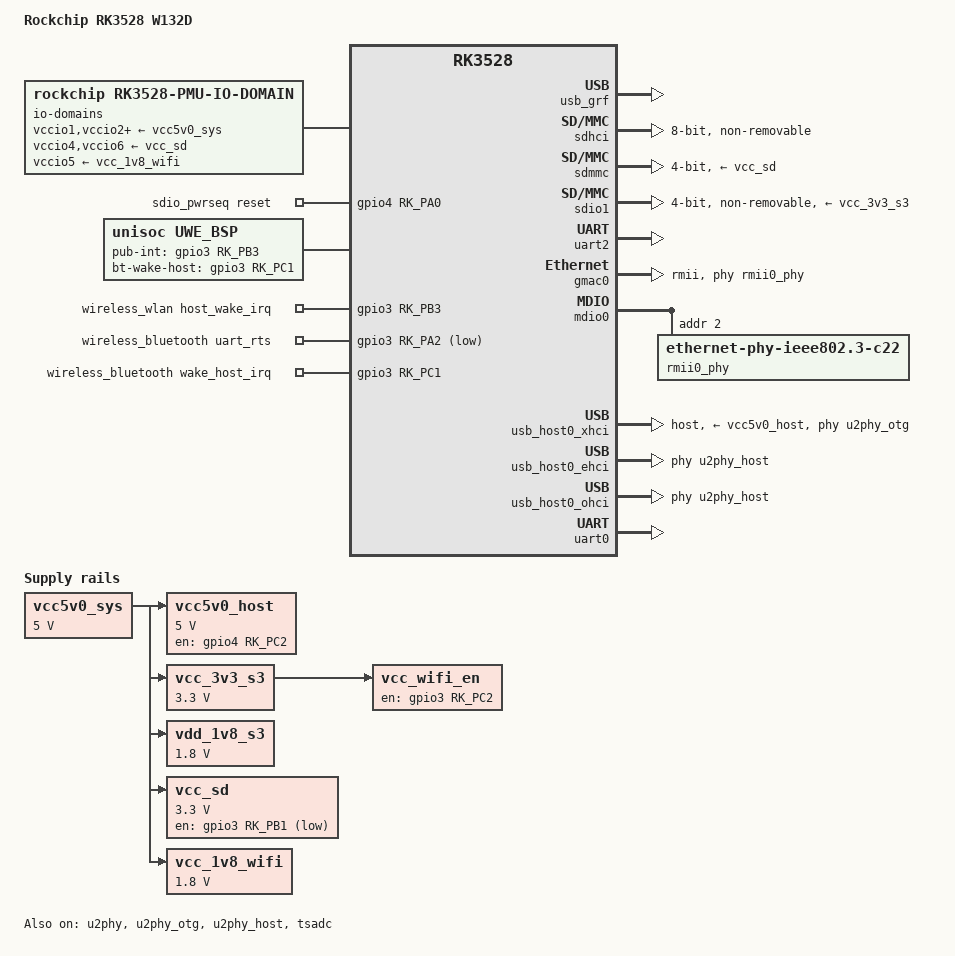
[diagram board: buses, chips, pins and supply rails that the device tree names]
// SPDX-License-Identifier: (GPL-2.0+ OR MIT)
/dts-v1/;
#include <dt-bindings/gpio/gpio.h>
#include <dt-bindings/input/input.h>
#include <dt-bindings/phy/phy.h>
#include <dt-bindings/pinctrl/rockchip.h>
#include "rk3528.dtsi"

/ {
	model = "Rockchip RK3528 W132D";
	compatible = "rockchip,rk3528-w132d", "rockchip,rk3528";

	aliases {
		ethernet0 = &gmac0;
		mmc0 = &sdmmc;
		mmc1 = &sdhci;
		serial0 = &uart0;
	};

	chosen {
		stdout-path = "serial0:1500000n8";
		bootargs = "earlycon=uart8250,mmio32,0xff9f0000 console=ttyS0,1500000";
	};

	vcc5v0_sys: vcc5v0-sys {
		compatible = "regulator-fixed";
		regulator-name = "vcc5v0_sys";
		regulator-always-on;
		regulator-boot-on;
		regulator-min-microvolt = <5000000>;
		regulator-max-microvolt = <5000000>;
	};

	vcc5v0_host: vcc5v0-host {
		compatible = "regulator-fixed";
		regulator-name = "vcc5v0_host";
		regulator-always-on;
		regulator-boot-on;
		regulator-min-microvolt = <5000000>;
		regulator-max-microvolt = <5000000>;
		enable-active-high;
		gpio = <&gpio4 RK_PC2 GPIO_ACTIVE_HIGH>;
		vin-supply = <&vcc5v0_sys>;
		pinctrl-names = "default";
		pinctrl-0 = <&vcc5v0_host_en>;
	};

	vcc_3v3_s3: vcc-3v3-s3 {
		compatible = "regulator-fixed";
		regulator-name = "vcc_3v3_s3";
		regulator-always-on;
		regulator-boot-on;
		regulator-min-microvolt = <3300000>;
		regulator-max-microvolt = <3300000>;
		vin-supply = <&vcc5v0_sys>;
	};

	vdd_1v8_s3: vdd-1v8-s3 {
		compatible = "regulator-fixed";
		regulator-name = "vdd_1v8_s3";
		regulator-always-on;
		regulator-boot-on;
		regulator-min-microvolt = <1800000>;
		regulator-max-microvolt = <1800000>;
		vin-supply = <&vcc5v0_sys>;
	};

	vcc_sd: vcc-sd {
		compatible = "regulator-fixed";
		regulator-name = "vcc_sd";
		regulator-min-microvolt = <3300000>;
		regulator-max-microvolt = <3300000>;
		regulator-always-on;
		regulator-boot-on;
		enable-active-low;
		gpio = <&gpio3 RK_PB1 GPIO_ACTIVE_LOW>;
		vin-supply = <&vcc5v0_sys>;
	};

	vcc_1v8_wifi: vcc-1v8-wifi {
		compatible = "regulator-fixed";
		regulator-name = "vcc_1v8_wifi";
		regulator-min-microvolt = <1800000>;
		regulator-max-microvolt = <1800000>;
		regulator-always-on;
		vin-supply = <&vcc5v0_sys>;
	};

	/*
	 * WIFI chip enable - keeps UWE5621DS out of reset.
	 * Same GPIO as v6 that worked: gpio3 RK_PC2, out hi.
	 */
	vcc_wifi_en: vcc-wifi-en {
		compatible = "regulator-fixed";
		regulator-name = "vcc_wifi_en";
		regulator-always-on;
		regulator-boot-on;
		enable-active-high;
		gpio = <&gpio3 RK_PC2 GPIO_ACTIVE_HIGH>;
		vin-supply = <&vcc_3v3_s3>;
	};

	io-domains {
		compatible = "rockchip,rk3528-pmu-io-domain";
		vccio1-supply = <&vcc5v0_sys>;
		vccio2-supply = <&vcc5v0_sys>;
		vccio3-supply = <&vcc5v0_sys>;
		vccio4-supply = <&vcc_sd>;
		vccio5-supply = <&vcc_1v8_wifi>;
		vccio6-supply = <&vcc_sd>;
		vccio7-supply = <&vcc5v0_sys>;
		status = "okay";
	};

	usb_grf: syscon@ff300000 {
		compatible = "rockchip,rk3528-grf", "syscon";
		reg = <0x0 0xff300000 0x0 0x90000>;
	};

	/*
	 * Pwrseq with a known-working GPIO (gpio4 RK_PA0 = pin 0 from bank 4).
	 * gpio4 is at ffb20000 and is working (vcc5v0-host uses gpio4-18).
	 * We use a dummy GPIO just so pwrseq probe succeeds and MMC can
	 * enable the SDIO bus power. The actual chip enable is done by
	 * vcc_wifi_en regulator above.
	 */
	sdio_pwrseq: sdio-pwrseq {
		compatible = "mmc-pwrseq-simple";
		reset-gpios = <&gpio4 RK_PA0 GPIO_ACTIVE_HIGH>;
		post-power-on-delay-ms = <1000>;
		status = "okay";
	};

	uwe_bsp: uwe-bsp {
		compatible = "unisoc,uwe_bsp";
		pub-int-gpio = <&gpio3 RK_PB3 GPIO_ACTIVE_HIGH>;
		sdhci-name = <&sdio1>;
		unisoc,btwf-file-name = "/lib/firmware/wcnmodem.bin";
		bt-wake-host;
		bt-wake-host-gpio = <&gpio3 RK_PC1 GPIO_ACTIVE_HIGH>;
		data-irq;
		blksz-512;
		keep-power-on;
		status = "okay";
	};

	sprd_wlan: sprd-wlan {
		compatible = "sprd,unisoc-wifi";
		status = "okay";
	};

	wireless_wlan: wireless-wlan {
		compatible = "wlan-platdata";
		wifi_chip_type = "sprdwl";
		WIFI,host_wake_irq = <&gpio3 RK_PB3 GPIO_ACTIVE_HIGH>;
		pinctrl-names = "default";
		pinctrl-0 = <&wifi_host_wake>;
		status = "okay";
	};

	wireless_bluetooth: wireless-bluetooth {
		compatible = "bluetooth-platdata";
		uart_rts_gpios = <&gpio3 RK_PA2 GPIO_ACTIVE_LOW>;
		pinctrl-names = "default", "rts_gpio";
		pinctrl-0 = <&uart2m0_xfer>;
		pinctrl-1 = <&uart2m0_gpios>;
		BT,wake_host_irq = <&gpio3 RK_PC1 GPIO_ACTIVE_HIGH>;
		status = "okay";
	};

	sprd_mtty: sprd-mtty {
		compatible = "sprd,mtty";
		sprd,name = "ttyBT";
		status = "okay";
	};
};

&sdhci {
	bus-width = <8>;
	non-removable;
	max-frequency = <200000000>;
	status = "okay";
};

&sdmmc {
	bus-width = <4>;
	cap-sd-highspeed;
	disable-wp;
	max-frequency = <150000000>;
	no-1-8-v;
	vmmc-supply = <&vcc_sd>;
	vqmmc-supply = <&vcc_sd>;
	pinctrl-names = "default";
	pinctrl-0 = <&sdmmc_bus4 &sdmmc_clk &sdmmc_cmd &sdmmc_det>;
	status = "okay";
};

/*
 * SDIO1 with pwrseq back.
 * vmmc-supply provides bus power, vqmmc-supply provides I/O voltage.
 * pwrseq uses gpio4 (known working bank) to satisfy MMC pwrseq binding.
 */
&sdio1 {
	/delete-property/ power-domains;
	max-frequency = <200000000>;
	bus-width = <4>;
	cap-sd-highspeed;
	cap-sdio-irq;
	keep-power-in-suspend;
	non-removable;
	cap-power-off-card;
	mmc-pwrseq = <&sdio_pwrseq>;
	vmmc-supply = <&vcc_3v3_s3>;
	vqmmc-supply = <&vdd_1v8_s3>;
	sd-uhs-sdr104;
	status = "okay";
};

&uart2 {
	/delete-property/ power-domains;
	pinctrl-names = "default";
	pinctrl-0 = <&uart2m0_xfer>;
	status = "okay";
};

&gmac0 {
	/delete-property/ power-domains;
	phy-mode = "rmii";
	phy-handle = <&rmii0_phy>;
	clock_in_out = "input";
	status = "okay";
};

&mdio0 {
	rmii0_phy: ethernet-phy@2 {
		compatible = "ethernet-phy-ieee802.3-c22";
		reg = <2>;
		clocks = <&cru 0x122>;
		phy-is-integrated;
		resets = <&cru 0xb8>;
	};
};

&u2phy {
	/delete-property/ power-domains;
	/delete-property/ rockchip,usbgrf;
	rockchip,usbgrf = <&usb_grf>;
	status = "okay";
};

&u2phy_otg {
	vbus-supply = <&vcc5v0_host>;
	status = "okay";
};

&u2phy_host {
	phy-supply = <&vcc5v0_host>;
	status = "okay";
};

&usb_host0_xhci {
	/delete-property/ power-domains;
	dr_mode = "host";
	phys = <&u2phy_otg>;
	phy-names = "usb2-phy";
	maximum-speed = "high-speed";
	vbus-supply = <&vcc5v0_host>;
	snps,dis_u2_susphy_quirk;
	snps,usb2-lpm-disable;
	snps,dis-del-phy-power-chg-quirk;
	snps,tx-fifo-resize;
	status = "okay";
};

&usb_host0_ehci {
	/delete-property/ power-domains;
	phys = <&u2phy_host>;
	phy-names = "usb";
	status = "okay";
};

&usb_host0_ohci {
	/delete-property/ power-domains;
	phys = <&u2phy_host>;
	phy-names = "usb";
	status = "okay";
};

&uart0 {
	pinctrl-names = "default";
	pinctrl-0 = <&uart0m0_xfer>;
	status = "okay";
};

&tsadc { status = "okay"; };

&threshold { temperature = <75000>; };
&target { temperature = <85000>; };
&soc_crit { temperature = <100000>; };

&pinctrl {
	usb {
		vcc5v0_host_en: vcc5v0-host-en {
			rockchip,pins = <4 RK_PC2 RK_FUNC_GPIO &pcfg_pull_none>;
		};
	};

	wireless-wlan {
		wifi_host_wake: wifi-host-wake {
			rockchip,pins = <3 RK_PB3 RK_FUNC_GPIO &pcfg_pull_none>;
		};
	};

	wireless-bluetooth {
		uart2m0_gpios: uart2m0-gpios {
			rockchip,pins = <3 RK_PA2 RK_FUNC_GPIO &pcfg_pull_none>;
		};
	};
};
